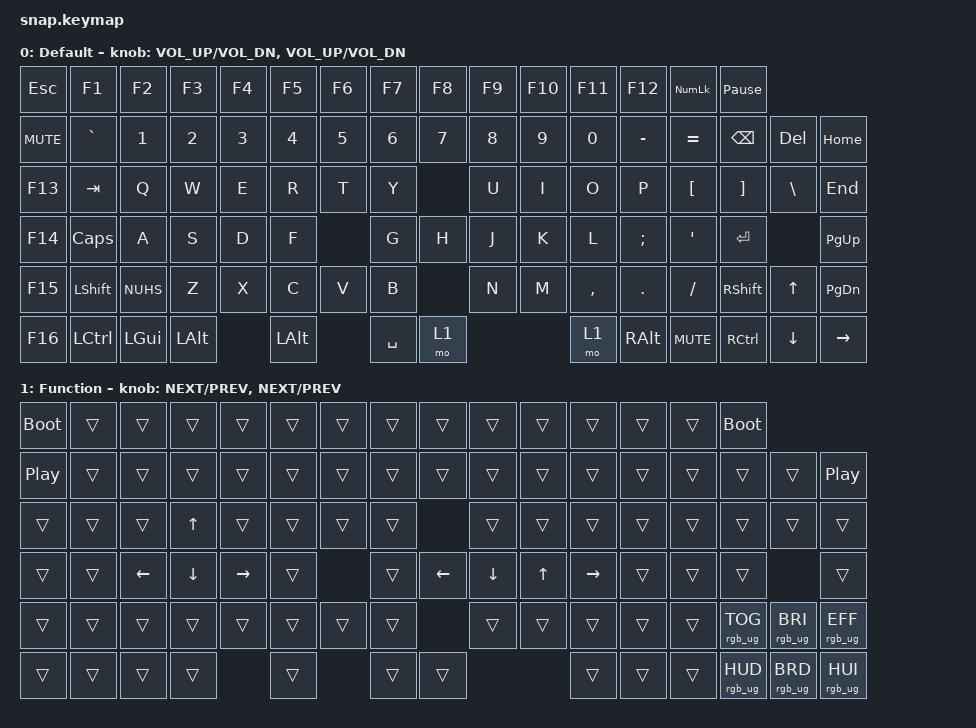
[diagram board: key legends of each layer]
/*
 * Copyright (c) 2022 The ZMK Contributors
 *
 * SPDX-License-Identifier: MIT
 */

#include <behaviors.dtsi>
#include <dt-bindings/zmk/keys.h>
#include <dt-bindings/zmk/rgb.h>

/ {
    sensors {
        compatible = "zmk,keymap-sensors";
        sensors = <&left_encoder &right_encoder>;
    };

    keymap {
        compatible = "zmk,keymap";

        default_layer {
            label = "Default";
            sensor-bindings = <&inc_dec_kp C_VOL_UP C_VOL_DN &inc_dec_kp C_VOL_UP C_VOL_DN>;
            bindings = <
    &kp ESC     &kp F1    &kp F2    &kp F3  &kp F4    &kp F5  &kp F6             &kp F7  &kp F8  &kp F9    &kp F10  &kp F11    &kp F12  &kp KP_NUM    &kp PAUSE_BREAK
 &kp C_MUTE  &kp GRAVE    &kp N1    &kp N2  &kp N3    &kp N4  &kp N5     &kp N6          &kp N7  &kp N8     &kp N9   &kp N0  &kp MINUS   &kp EQUAL           &kp BSPC   &kp DEL   &kp HOME
    &kp F13    &kp TAB     &kp Q     &kp W   &kp E     &kp R              &kp T           &kp Y   &kp U      &kp I    &kp O      &kp P    &kp LBKT           &kp RBKT  &kp BSLH    &kp END
    &kp F14   &kp CLCK     &kp A     &kp S   &kp D     &kp F              &kp G           &kp H   &kp J      &kp K    &kp L   &kp SEMI     &kp SQT            &kp RET            &kp PG_UP
    &kp F15  &kp LSHFT  &kp NUHS     &kp Z   &kp X     &kp C   &kp V      &kp B           &kp N   &kp M  &kp COMMA  &kp DOT   &kp FSLH   &kp RSHFT                       &kp UP  &kp PG_DN
    &kp F16  &kp LCTRL  &kp LGUI  &kp LALT          &kp LALT          &kp SPACE           &mo 1                       &mo 1   &kp RALT  &kp C_MUTE  &kp RIGHT_CONTROL  &kp DOWN  &kp RIGHT
            >;
        };

        function_layer {
            label = "Function";
            sensor-bindings = <&inc_dec_kp C_NEXT C_PREV &inc_dec_kp C_NEXT C_PREV>;
            bindings = <
 &bootloader  &trans    &trans    &trans     &trans  &trans  &trans          &trans          &trans    &trans        &trans     &trans  &trans           &trans      &bootloader
    &kp C_PP  &trans    &trans    &trans     &trans  &trans  &trans  &trans                  &trans    &trans        &trans     &trans  &trans           &trans           &trans           &trans         &kp C_PP
      &trans  &trans    &trans    &kp UP     &trans  &trans          &trans                  &trans    &trans        &trans     &trans  &trans           &trans           &trans           &trans           &trans
      &trans  &trans  &kp LEFT  &kp DOWN  &kp RIGHT  &trans          &trans          &kp LEFT_ARROW  &kp DOWN  &kp UP_ARROW  &kp RIGHT  &trans           &trans           &trans                            &trans
      &trans  &trans    &trans    &trans     &trans  &trans  &trans  &trans                  &trans    &trans        &trans     &trans  &trans  &rgb_ug RGB_TOG                   &rgb_ug RGB_BRI  &rgb_ug RGB_EFF
      &trans  &trans    &trans    &trans             &trans          &trans                  &trans                             &trans  &trans           &trans  &rgb_ug RGB_HUD  &rgb_ug RGB_BRD  &rgb_ug RGB_HUI
            >;
        };
    };
};
